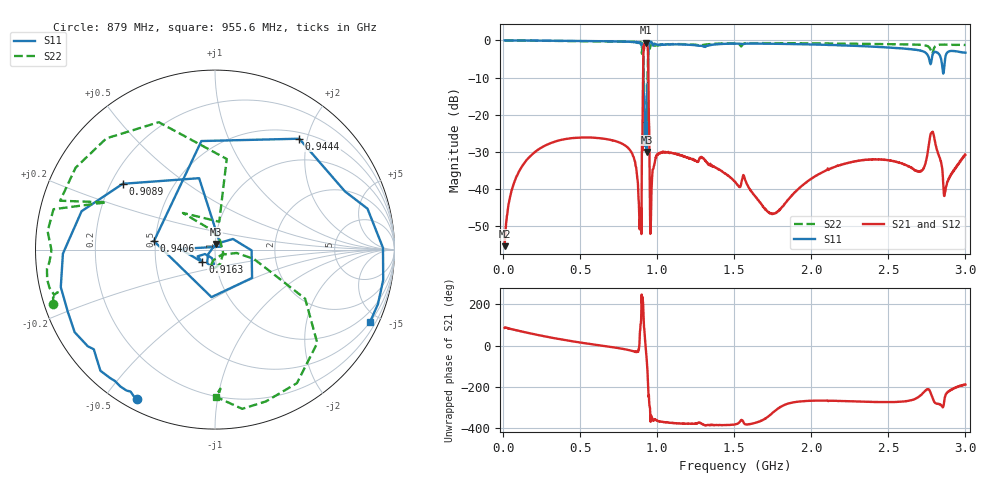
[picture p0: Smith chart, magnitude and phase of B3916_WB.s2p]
! Matrix data file written by TouchstoneData, EPCOS AG
! FILENAME: "B3916_WB.s2p"
! COMMENT: "NWA-Port1 : 98.0ps NWA-Port2 : 98.0ps PCB2031"
! INFO: nport=2, nfreq=1601
! DATE: "Wed Jul  4 2012"
! USER: "Hiroshi Tanaka"
! port | pin | signal
!  1  |  2  |  in
!  2  |  5  |  out
# MHZ S RI R 50
! freq  reS11 imS11  reS21 imS21  reS12 imS12  reS22 imS22
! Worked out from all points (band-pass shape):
!   1601 points, 10 MHz to 3 GHz, reference 50 ohm
!   highest |S21| = -0.62 dB at 927.6 MHz (marker M1); lowest = -55.4 dB at 10 MHz (marker M2)
!   |S21| within 3 dB of the highest: 910.7 MHz to 940.4 MHz (29.75 MHz wide, 3.21 % of centre)
!   lowest |S11| = -30.1 dB at 931.3 MHz (marker M3), VSWR 1.06, Z = 50.2 + j3.14 ohm
!   |S11| at or under -10 dB: 910.9 MHz to 940 MHz (29.1 MHz wide, 3.14 % of centre)
!   |S22| runs from -26.6 to 0.0 dB; largest |S21 - S12| = 0.00039
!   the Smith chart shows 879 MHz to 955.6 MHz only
!   S11 on the Smith chart (normalised r, x): 879 MHz: 0.04, -0.61; 908.9 MHz: 0.25, +0.30; 916.3 MHz: 0.86, -0.12; 940.6 MHz: 0.49, +0.05; 944.4 MHz: 0.60, +1.86; 955.6 MHz: 0.51, -4.48
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10  0.9996 -0.0201  0.000104 0.00169  6.4e-05 0.00173  0.9989 -0.0434
146.4187  0.9568 -0.2795  0.0102 0.0213  0.0102 0.0213  0.8172 -0.5685
508.9563  0.5751 -0.7972  0.0478 0.012  0.0478 0.012  -0.1449 -0.9665
811.6938  -0.00815 -0.9631  0.0332 -0.0129  0.0332 -0.0129  -0.7079 -0.6539
878.9688  -0.4325 -0.8314  0.00695 -0.00235  0.0069 -0.00234  -0.9 -0.3052
892.05  -0.6384 -0.6748  -0.00112 0.00463  -0.00116 0.00463  -0.9225 -0.0687
908.8687  -0.5142 0.3666  -0.3319 -0.1301  -0.332 -0.1302  -0.3129 0.7098
916.3438  -0.0703 -0.0703  0.1319 0.8833  0.1317 0.8835  -0.0269 0.1137
927.5562  -0.044 -0.0744  0.8437 -0.3932  0.8438 -0.3931  -0.0244 -0.0912
931.2938  0.00321 0.0312  0.4797 -0.7862  0.4798 -0.7862  0.0373 -0.0284
940.6375  -0.34 0.0472  -0.6411 0.0566  -0.641 0.0566  0.5022 -0.2735
944.375  0.4695 0.6178  -0.0675 0.1726  -0.0676 0.1725  0.4566 -0.744
955.5875  0.8644 -0.401  0.00241 0.000578  0.00238 0.000552  0.00483 -0.8224
1007.913  0.2958 -0.8202  0.0299 -0.00311  0.0299 -0.00309  -0.4449 -0.7336
1505  -0.3126 -0.85  0.0117 -0.00453  0.0116 -0.00454  -0.829 -0.373
1749.806  -0.5108 -0.7437  0.00376 0.00268  0.00379 0.0027  -0.891 -0.2301
2003.956  -0.6694 -0.5758  -0.000791 0.0139  -0.000792 0.0139  -0.9122 -0.0517
2502.912  -0.7992 -0.0797  0.00151 0.0242  0.00151 0.0242  -0.8395 0.3003
2712.213  -0.6941 0.2195  -0.00888 0.015  -0.00889 0.015  -0.7433 0.4557
2785.094  -0.6109 0.0825  -0.0206 0.0548  -0.0206 0.0548  -0.5679 0.3295
2871.056  -0.6077 0.0387  -0.00494 0.00815  -0.00491 0.00813  -0.7198 0.5065
3000  -0.513 0.4527  -0.0284 0.0045  -0.0285 0.00449  -0.6411 0.5883
